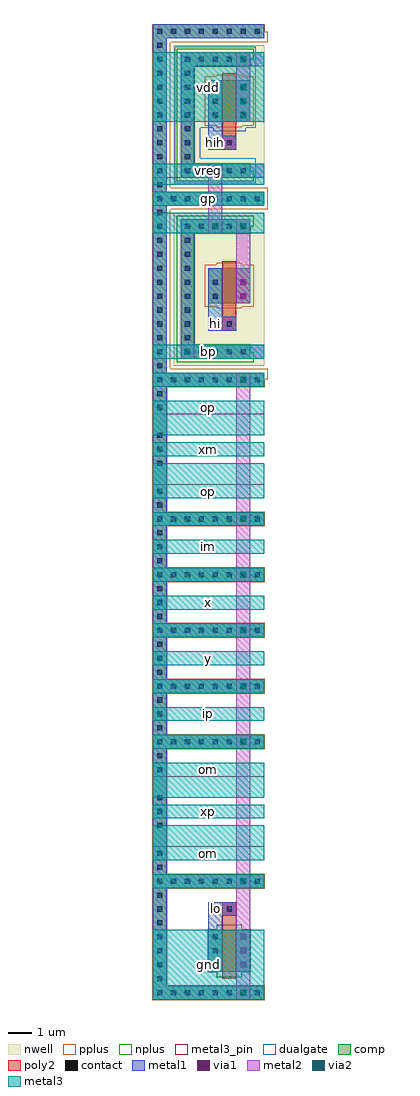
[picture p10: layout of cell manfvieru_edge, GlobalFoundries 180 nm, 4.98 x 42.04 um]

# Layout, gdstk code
import gdstk
lib = gdstk.Library(unit=1e-6, precision=1e-09)
def R(c, l, rs):  # rectangles x0, y0, x1, y1
    for r in rs: c.add(gdstk.rectangle(r[:2], r[2:], *l))
def A(c, l, x, y, w, h, nx, ny, dx, dy):  # array of equal rectangles
    R(c, l, [(x+i*dx, y+j*dy, x+i*dx+w, y+j*dy+h) for i in range(nx) for j in range(ny)])
nwell = (21, 0)
comp = (22, 0)
poly2 = (30, 0)
pplus = (31, 0)
nplus = (32, 0)
contact = (33, 0)
metal1 = (34, 0)
via1 = (35, 0)
metal2 = (36, 0)
via2 = (38, 0)
metal3 = (42, 0)
metal3_pin = (42, 10)
dualgate = (55, 0)

manfvieru_edge = lib.new_cell('manfvieru_edge')
R(manfvieru_edge, nwell, [(-36.9,20.7,-33,27.3), (-36.9,28.5,-33,34.5)])
A(manfvieru_edge, comp, -37.8, 4.2, 4.8, 0.6, 1, 5, 0, 2.4)
A(manfvieru_edge, comp, -37.8, 4.8, 0.6, 1.8, 1, 4, 0, 2.4)
R(manfvieru_edge, comp, [(-37.8,-6.6,-33,-6), (-37.8,-6,-37.2,-1.8), (-35.4,-5.4,-33.6,-3.6), (-37.8,-1.8,-33,-1.2), (-37.8,-1.2,-37.2,4.2), (-37.8,14.4,-37.2,19.8), (-37.8,19.8,-33,20.4), (-37.8,20.4,-37.2,27.6), (-36.6,21,-33.6,21.6), (-36.6,21.6,-36,26.4), (-35.4,23.4,-33.6,24.9), (-36.6,26.4,-33.6,27), (-37.8,27.6,-33,28.2), (-37.8,28.2,-37.2,34.8), (-36.6,28.8,-33.6,29.4), (-36.6,29.4,-36,33.6), (-35.4,31.2,-33.6,33), (-36.6,33.6,-33.6,34.2), (-37.8,34.8,-33,35.4)])
R(manfvieru_edge, poly2, [(-34.8,-5.7,-34.2,-2.4), (-34.8,22.2,-34.2,25.2), (-34.8,30,-34.2,33.3)])
A(manfvieru_edge, pplus, -37.82, 4.18, 4.84, 0.64, 1, 5, 0, 2.4)
A(manfvieru_edge, pplus, -37.82, 4.82, 0.64, 1.76, 1, 4, 0, 2.4)
R(manfvieru_edge, pplus, [(-37.82,-6.62,-32.98,-5.98), (-37.82,-5.98,-37.18,-1.82), (-37.82,-1.82,-32.98,-1.18), (-37.82,-1.18,-37.18,4.18), (-37.82,14.42,-37.18,19.78), (-37.82,19.78,-32.98,20.11), (-37.82,20.11,-32.84,20.56), (-37.82,20.56,-37.04,27.44), (-35.03,23.17,-33.97,23.24), (-35.56,23.24,-33.44,25.06), (-35.03,25.06,-33.97,25.13), (-37.82,27.44,-32.84,28.36), (-37.82,28.36,-37.04,34.64), (-35.03,30.97,-33.97,31.04), (-35.56,31.04,-33.44,33.16), (-35.03,33.16,-33.97,33.23), (-37.82,34.64,-32.84,35.09), (-37.82,35.09,-32.98,35.42)])
R(manfvieru_edge, nplus, [(-35.03,-5.63,-33.97,-5.42), (-35.42,-5.42,-33.58,-3.58), (-35.03,-3.58,-33.97,-3.37), (-36.76,20.84,-33.44,21.29), (-36.76,21.29,-33.58,21.62), (-36.76,21.62,-35.98,26.38), (-36.76,26.38,-33.58,26.71), (-36.76,26.71,-33.44,27.16), (-36.76,28.64,-33.44,29.09), (-36.76,29.09,-33.58,29.42), (-36.76,29.42,-35.98,33.58), (-36.76,33.58,-33.58,33.91), (-36.76,33.91,-33.44,34.36)])
A(manfvieru_edge, contact, -37.61, -6.41, 0.22, 0.22, 8, 2, 0.6, 4.8)
A(manfvieru_edge, contact, -37.61, -5.81, 0.22, 0.22, 1, 7, 0, 0.6)
A(manfvieru_edge, contact, -35.21, -5.21, 0.22, 0.22, 1, 3, 0, 0.6)
A(manfvieru_edge, contact, -34.01, -5.21, 0.22, 0.22, 1, 3, 0, 0.6)
A(manfvieru_edge, contact, -37.61, 0.79, 0.22, 0.22, 1, 3, 0, 0.6)
A(manfvieru_edge, contact, -37.61, 4.39, 0.22, 0.22, 8, 5, 0.6, 2.4)
A(manfvieru_edge, contact, -37.61, 4.99, 0.22, 0.22, 1, 3, 0, 0.6)
A(manfvieru_edge, contact, -37.61, 7.39, 0.22, 0.22, 1, 3, 0, 0.6)
A(manfvieru_edge, contact, -37.61, 9.79, 0.22, 0.22, 1, 3, 0, 0.6)
A(manfvieru_edge, contact, -37.61, 12.19, 0.22, 0.22, 1, 3, 0, 0.6)
A(manfvieru_edge, contact, -37.61, 16.39, 0.22, 0.22, 1, 3, 0, 0.6)
A(manfvieru_edge, contact, -37.61, 19.99, 0.22, 0.22, 8, 2, 0.6, 7.8)
A(manfvieru_edge, contact, -37.61, 20.59, 0.22, 0.22, 1, 5, 0, 0.6)
A(manfvieru_edge, contact, -36.41, 21.19, 0.22, 0.22, 5, 2, 0.6, 5.4)
A(manfvieru_edge, contact, -36.41, 21.79, 0.22, 0.22, 1, 3, 0, 0.6)
A(manfvieru_edge, contact, -37.61, 23.59, 0.22, 0.22, 4, 2, 1.2, 0.6)
A(manfvieru_edge, contact, -37.61, 24.79, 0.22, 0.22, 1, 5, 0, 0.6)
A(manfvieru_edge, contact, -36.41, 24.79, 0.22, 0.22, 1, 3, 0, 0.6)
A(manfvieru_edge, contact, -37.61, 28.39, 0.22, 0.22, 1, 5, 0, 0.6)
A(manfvieru_edge, contact, -36.41, 28.99, 0.22, 0.22, 5, 2, 0.6, 4.8)
A(manfvieru_edge, contact, -36.41, 29.59, 0.22, 0.22, 1, 3, 0, 0.6)
A(manfvieru_edge, contact, -37.61, 31.39, 0.22, 0.22, 4, 3, 1.2, 0.6)
A(manfvieru_edge, contact, -37.61, 33.19, 0.22, 0.22, 1, 3, 0, 0.6)
A(manfvieru_edge, contact, -37.61, 34.99, 0.22, 0.22, 8, 1, 0.6, 0)
R(manfvieru_edge, contact, [(-34.61,-2.81,-34.39,-2.59), (-37.61,-1.01,-37.39,-0.79), (-37.61,-0.41,-37.39,-0.19), (-37.61,3.19,-37.39,3.41), (-37.61,3.79,-37.39,4.01), (-37.61,14.59,-37.39,14.81), (-37.61,15.19,-37.39,15.41), (-37.61,18.79,-37.39,19.01), (-37.61,19.39,-37.39,19.61), (-34.61,22.39,-34.39,22.61), (-34.61,30.19,-34.39,30.41), (-36.41,33.19,-36.19,33.41)])
A(manfvieru_edge, metal1, -37.8, 4.2, 4.8, 0.6, 1, 5, 0, 2.4)
A(manfvieru_edge, metal1, -37.8, 4.8, 0.6, 1.8, 1, 4, 0, 2.4)
R(manfvieru_edge, metal1, [(-37.8,-6.6,-33,-6), (-37.8,-6,-37.2,-1.8), (-35.4,-5.4,-34.8,-3), (-34.2,-5.4,-33.6,-3.6), (-35.4,-3,-34.2,-2.4), (-37.8,-1.8,-33,-1.2), (-37.8,-1.2,-37.2,4.2), (-37.8,14.4,-37.2,19.8), (-37.8,19.8,-33,20.4), (-37.8,20.4,-37.2,27.6), (-36.6,21,-33,21.6), (-36.6,21.6,-36,26.4), (-35.4,22.2,-34.2,22.8), (-35.4,22.8,-34.8,24.9), (-34.2,23.4,-33.6,24.9), (-36.6,26.4,-33.6,27), (-37.8,27.6,-33,28.2), (-37.8,28.2,-37.2,34.8), (-36.6,28.8,-33,29.4), (-36.6,29.4,-36,33.6), (-35.4,30,-34.2,30.6), (-35.4,30.6,-34.8,33), (-34.2,31.2,-33.6,33), (-36.6,33.6,-33,34.2), (-37.8,34.8,-33,35.4)])
A(manfvieru_edge, via1, -34.03, -5.23, 0.26, 0.26, 1, 3, 0, 0.6)
A(manfvieru_edge, via1, -34.03, 4.37, 0.26, 0.26, 1, 5, 0, 2.4)
A(manfvieru_edge, via1, -34.03, 31.37, 0.26, 0.26, 1, 3, 0, 0.6)
R(manfvieru_edge, via1, [(-34.03,-6.43,-33.77,-6.17), (-34.03,-1.63,-33.77,-1.37), (-34.03,19.97,-33.77,20.23), (-36.43,21.17,-36.17,21.43), (-34.03,23.57,-33.77,23.83), (-34.03,24.17,-33.77,24.43), (-34.03,33.77,-33.77,34.03)])
R(manfvieru_edge, metal2, [(-34.2,-6.6,-33.6,20.4), (-36.6,21,-36,21.6), (-34.2,23.4,-33.6,27), (-35.4,26.4,-34.8,29.4), (-34.2,31.2,-33.6,34.2)])
A(manfvieru_edge, via2, -34.03, 4.37, 0.26, 0.26, 1, 5, 0, 2.4)
A(manfvieru_edge, via2, -34.03, 31.37, 0.26, 0.26, 1, 3, 0, 0.6)
R(manfvieru_edge, via2, [(-34.03,-6.43,-33.77,-6.17), (-34.03,-1.63,-33.77,-1.37), (-34.03,19.97,-33.77,20.23), (-36.43,21.17,-36.17,21.43), (-35.23,26.57,-34.97,26.83), (-34.03,26.57,-33.77,26.83), (-35.23,28.97,-34.97,29.23), (-34.03,33.77,-33.77,34.03)])
A(manfvieru_edge, metal3, -37.8, -1.8, 4.8, 0.6, 1, 3, 0, 3)
A(manfvieru_edge, metal3, -37.8, 5.4, 4.8, 0.6, 1, 8, 0, 1.2)
R(manfvieru_edge, metal3, [(-37.8,-6.6,-33,-3.6), (-37.8,-0.6,-33,0.9), (-37.8,2.1,-33,3.6), (-37.8,15,-33,16.5), (-37.8,16.8,-33,17.4), (-37.8,17.7,-33,19.2), (-37.8,19.8,-33,20.4), (-37.8,21,-33,21.6), (-37.8,26.4,-33,27.3), (-37.8,27.6,-33,28.2), (-37.8,28.5,-33,29.4), (-37.8,31.2,-33,34.2)])
A(manfvieru_edge, metal3_pin, -37.8, -0.6, 4.8, 0.6, 1, 3, 0, 1.8)
A(manfvieru_edge, metal3_pin, -37.8, 5.4, 4.8, 0.6, 1, 5, 0, 2.4)
R(manfvieru_edge, metal3_pin, [(-37.8,-6.6,-33,-3.6), (-37.8,16.8,-33,17.4), (-37.8,18.6,-33,19.2), (-37.8,21,-33,21.6), (-37.8,27.6,-33,28.2), (-37.8,28.8,-33,29.4), (-37.8,31.2,-33,34.2)])
R(manfvieru_edge, dualgate, [(-36.84,28.56,-33.36,29.64), (-36.84,29.64,-35.76,30.96), (-35.2,30.8,-33.8,30.96), (-36.84,30.96,-33.36,34.44)])
manfvieru_edge.add(gdstk.Label('lo', (-35.1,-2.7), layer=34, texttype=0))
manfvieru_edge.add(gdstk.Label('hi', (-35.1,22.5), layer=34, texttype=0))
manfvieru_edge.add(gdstk.Label('hih', (-35.1,30.3), layer=34, texttype=0))
manfvieru_edge.add(gdstk.Label('vdd', (-35.4,32.7), layer=42, texttype=10))
manfvieru_edge.add(gdstk.Label('gp', (-35.4,27.9), layer=42, texttype=10))
manfvieru_edge.add(gdstk.Label('bp', (-35.4,21.3), layer=42, texttype=10))
manfvieru_edge.add(gdstk.Label('vreg', (-35.4,29.1), layer=42, texttype=10))
manfvieru_edge.add(gdstk.Label('im', (-35.4,12.9), layer=42, texttype=10))
manfvieru_edge.add(gdstk.Label('ip', (-35.4,5.7), layer=42, texttype=10))
manfvieru_edge.add(gdstk.Label('gnd', (-35.4,-5.1), layer=42, texttype=10))
manfvieru_edge.add(gdstk.Label('xm', (-35.4,17.1), layer=42, texttype=10))
manfvieru_edge.add(gdstk.Label('op', (-35.4,18.9), layer=42, texttype=10))
manfvieru_edge.add(gdstk.Label('op', (-35.4,15.3), layer=42, texttype=10))
manfvieru_edge.add(gdstk.Label('xp', (-35.4,1.5), layer=42, texttype=10))
manfvieru_edge.add(gdstk.Label('om', (-35.4,-0.3), layer=42, texttype=10))
manfvieru_edge.add(gdstk.Label('om', (-35.4,3.3), layer=42, texttype=10))
manfvieru_edge.add(gdstk.Label('x', (-35.4,10.5), layer=42, texttype=10))
manfvieru_edge.add(gdstk.Label('y', (-35.4,8.1), layer=42, texttype=10))

lib.write_gds('manfvieru_edge.gds')
